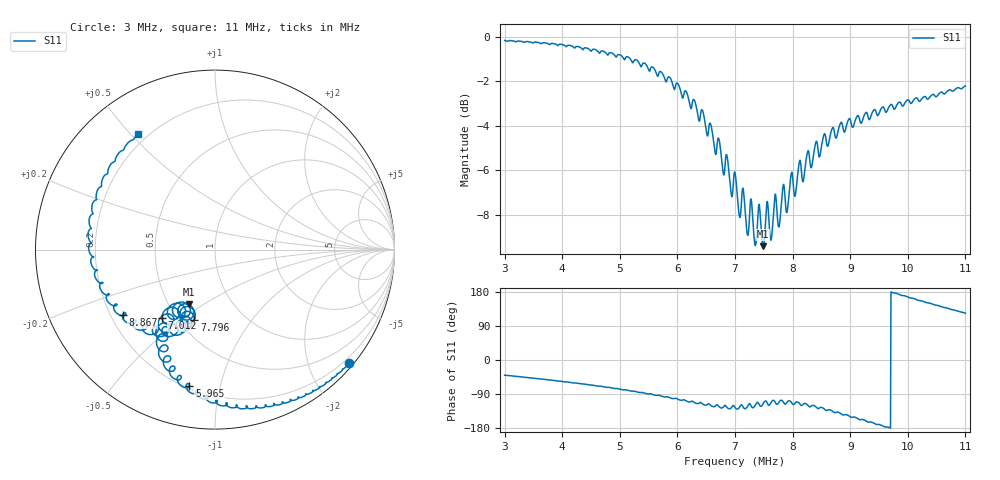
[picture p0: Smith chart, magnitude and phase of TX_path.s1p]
# Hz S RI R 50
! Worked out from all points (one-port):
!   1010 points, 3 MHz to 11 MHz, reference 50 ohm
!   lowest |S11| = -9.4 dB at 7.487 MHz (marker M1), VSWR 2.02, Z = 31.4 - j21.7 ohm
!   |S11| at or under -10 dB: nowhere
!   S11 on the Smith chart (normalised r, x): 3 MHz: 0.09, -2.74; 5.965 MHz: 0.21, -0.81; 7.012 MHz: 0.42, -0.42; 7.796 MHz: 0.60, -0.56; 8.867 MHz: 0.25, -0.30; 11 MHz: 0.16, +0.52
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3000000  0.7492 -0.6317
4006828  0.5243 -0.8033
5005756  0.204 -0.8865
5576584  -0.0194 -0.8529
5964984  -0.1426 -0.7593
6004684  -0.1814 -0.7636
6464512  -0.314 -0.5788
6916412  -0.288 -0.3652
7003640  -0.2906 -0.3971
7011540  -0.2949 -0.3831
7209740  -0.2034 -0.2996
7281040  -0.2262 -0.3672
7352440  -0.1633 -0.2982
7423740  -0.2014 -0.3652
7487240  -0.1468 -0.3052
7558540  -0.1699 -0.3914
7629940  -0.1266 -0.3278
7693340  -0.1517 -0.4131
7796440  -0.1149 -0.3923
8002568  -0.2177 -0.428
8073868  -0.1649 -0.441
8390968  -0.3008 -0.4847
8866696  -0.5153 -0.3655
9001496  -0.5644 -0.3256
9556424  -0.6896 -0.0807
1.000042e7  -0.7003 0.1722
1.055535e7  -0.5912 0.4573
1.099935e7  -0.4296 0.6448
